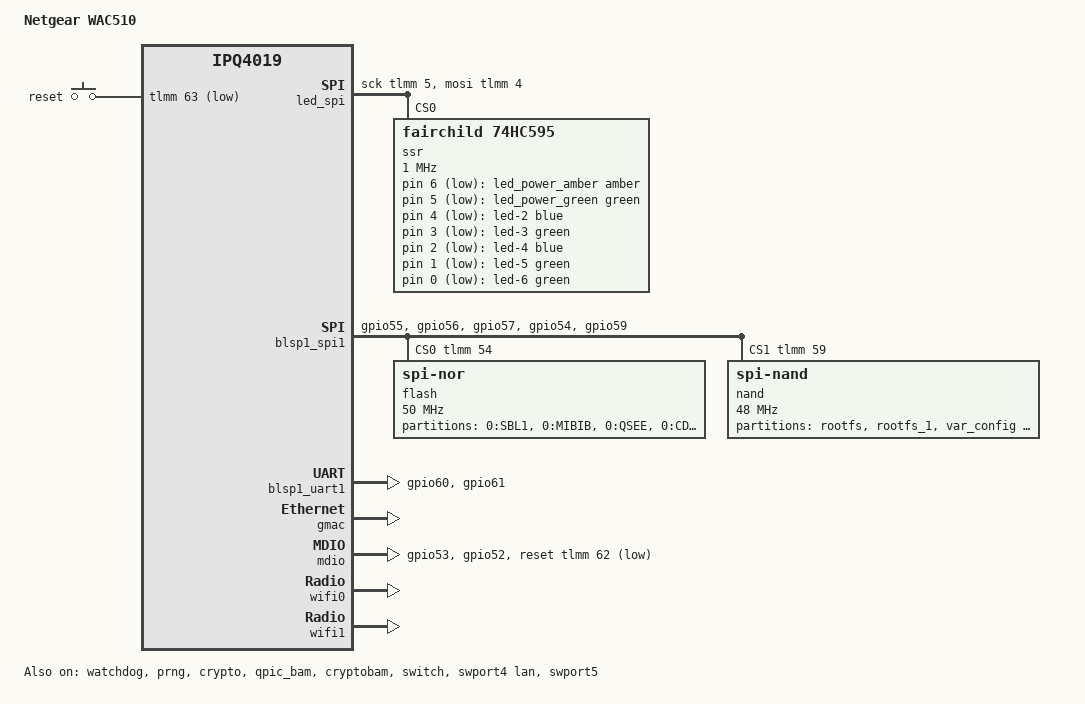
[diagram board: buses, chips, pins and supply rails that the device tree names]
// SPDX-License-Identifier: GPL-2.0-or-later OR MIT
/* Copyright (c) 2020, Robert Marko <robimarko@gmail.com> */

#include "qcom-ipq4019.dtsi"
#include <dt-bindings/gpio/gpio.h>
#include <dt-bindings/input/input.h>
#include <dt-bindings/soc/qcom,tcsr.h>
#include <dt-bindings/leds/common.h>

/ {
	model = "Netgear WAC510";
	compatible = "netgear,wac510";

	aliases {
		led-boot = &led_power_amber;
		led-failsafe = &led_power_amber;
		led-running = &led_power_green;
		led-upgrade = &led_power_amber;
		ethernet1 = &swport5;
	};

	chosen {
		bootargs-append = " root=/dev/ubiblock0_1";
	};

	soc {
		counter@4a1000 {
			compatible = "qcom,qca-gcnt";
			reg = <0x4a1000 0x4>;
		};

		tcsr@1949000 {
			compatible = "qcom,tcsr";
			reg = <0x1949000 0x100>;
			qcom,wifi_glb_cfg = <TCSR_WIFI_GLB_CFG>;
		};

		ess_tcsr@1953000 {
			compatible = "qcom,tcsr";
			reg = <0x1953000 0x1000>;
			qcom,ess-interface-select = <TCSR_ESS_PSGMII>;
		};

		tcsr@1957000 {
			compatible = "qcom,tcsr";
			reg = <0x1957000 0x100>;
			qcom,wifi_noc_memtype_m0_m2 = <TCSR_WIFI_NOC_MEMTYPE_M0_M2>;
		};
	};

	keys {
		compatible = "gpio-keys";

		reset {
			label = "reset";
			gpios = <&tlmm 63 GPIO_ACTIVE_LOW>;
			linux,code = <KEY_RESTART>;
		};
	};

	led_spi {
		compatible = "spi-gpio";
		#address-cells = <1>;
		#size-cells = <0>;

		sck-gpios = <&tlmm 5 GPIO_ACTIVE_HIGH>;
		mosi-gpios = <&tlmm 4 GPIO_ACTIVE_HIGH>;
		num-chipselects = <0>;

		ssr: ssr@0 {
			compatible = "fairchild,74hc595";
			reg = <0>;
			gpio-controller;
			#gpio-cells = <2>;
			registers-number = <1>;
			spi-max-frequency = <1000000>;
		};
	};

	leds {
		compatible = "gpio-leds";

		led_power_amber: led-0 {
			color = <LED_COLOR_ID_AMBER>;
			function = LED_FUNCTION_POWER;
			gpios = <&ssr 6 GPIO_ACTIVE_LOW>;
			panic-indicator;
		};

		led_power_green: led-1 {
			color = <LED_COLOR_ID_GREEN>;
			function = LED_FUNCTION_POWER;
			gpios = <&ssr 5 GPIO_ACTIVE_LOW>;
		};

		led-2 {
			/* 2.4GHz blue - activity */
			color = <LED_COLOR_ID_BLUE>;
			function = LED_FUNCTION_WLAN;
			function-enumerator = <0>;
			gpios = <&ssr 4 GPIO_ACTIVE_LOW>;
			linux,default-trigger = "phy0tpt";
		};

		led-3 {
			/* 2.4GHz green - link */
			color = <LED_COLOR_ID_GREEN>;
			function = LED_FUNCTION_WLAN;
			function-enumerator = <0>;
			gpios = <&ssr 3 GPIO_ACTIVE_LOW>;
			linux,default-trigger = "phy0radio";
		};

		led-4 {
			/* 5GHz blue - activity */
			color = <LED_COLOR_ID_BLUE>;
			function = LED_FUNCTION_WLAN;
			function-enumerator = <1>;
			gpios = <&ssr 2 GPIO_ACTIVE_LOW>;
			linux,default-trigger = "phy1tpt";
		};

		led-5 {
			/* 5GHz green - link */
			color = <LED_COLOR_ID_GREEN>;
			function = LED_FUNCTION_WLAN;
			function-enumerator = <1>;
			gpios = <&ssr 1 GPIO_ACTIVE_LOW>;
			linux,default-trigger = "phy1radio";
		};

		led-6 {
			color = <LED_COLOR_ID_GREEN>;
			function = LED_FUNCTION_ACTIVITY;
			gpios = <&ssr 0 GPIO_ACTIVE_LOW>;
		};
	};
};

&watchdog {
	status = "okay";
};

&prng {
	status = "okay";
};

&crypto {
	status = "okay";
};

&qpic_bam {
	status = "okay";
};

&tlmm {
	mdio_pins: mdio_pinmux {
		mux_1 {
			pins = "gpio53";
			function = "mdio";
			bias-pull-up;
		};

		mux_2 {
			pins = "gpio52";
			function = "mdc";
			bias-pull-up;
		};
	};

	serial_pins: serial_pinmux {
		mux {
			pins = "gpio60", "gpio61";
			function = "blsp_uart0";
			bias-disable;
		};
	};

	spi_0_pins: spi_0_pinmux {
		pinmux {
			function = "blsp_spi0";
			pins = "gpio55", "gpio56", "gpio57";
			drive-strength = <12>;
			bias-disable;
		};

		pinmux_cs {
			function = "gpio";
			pins = "gpio54", "gpio59";
			drive-strength = <2>;
			bias-disable;
			output-high;
		};
	};
};

&blsp_dma {
	status = "okay";
};

&blsp1_spi1 {
	status = "okay";

	pinctrl-0 = <&spi_0_pins>;
	pinctrl-names = "default";
	cs-gpios = <&tlmm 54 GPIO_ACTIVE_HIGH>,
		   <&tlmm 59 GPIO_ACTIVE_HIGH>;

	flash@0 {
		compatible = "jedec,spi-nor";
		spi-max-frequency = <50000000>;
		reg = <0>;

		partitions {
			compatible = "fixed-partitions";
			#address-cells = <1>;
			#size-cells = <1>;

			partition@0 {
				label = "0:SBL1";
				reg = <0x00000000 0x00040000>;
				read-only;
			};

			partition@40000 {
				label = "0:MIBIB";
				reg = <0x00040000 0x00020000>;
				read-only;
			};

			partition@60000 {
				label = "0:QSEE";
				reg = <0x00060000 0x00060000>;
				read-only;
			};

			partition@c0000 {
				label = "0:CDT";
				reg = <0x000c0000 0x00010000>;
				read-only;
			};

			partition@d0000 {
				label = "0:DDRPARAMS";
				reg = <0x000d0000 0x00010000>;
				read-only;
			};

			partition@e0000 {
				label = "0:APPSBLENV";
				reg = <0x000e0000 0x00010000>;
			};

			partition@f0000 {
				label = "0:APPSBL";
				reg = <0x000f0000 0x000f0000>;
				read-only;
			};

			partition@1e0000 {
				label = "0:MANUDATA";
				reg = <0x001e0000 0x00010000>;
				read-only;

				nvmem-layout {
					compatible = "fixed-layout";
					#address-cells = <1>;
					#size-cells = <1>;

					macaddr_manudata_6: macaddr@6 {
						compatible = "mac-base";
						reg = <0x6 0x6>;
						#nvmem-cell-cells = <1>;
					};
				};
			};

			partition@1f0000 {
				label = "0:ART";
				reg = <0x001f0000 0x00010000>;
				read-only;

				nvmem-layout {
					compatible = "fixed-layout";
					#address-cells = <1>;
					#size-cells = <1>;

					precal_art_1000: precal@1000 {
						reg = <0x1000 0x2f20>;
					};

					precal_art_5000: precal@5000 {
						reg = <0x5000 0x2f20>;
					};
				};
			};
		};
	};

	nand@1 {
		compatible = "spi-nand";
		reg = <1>;
		spi-max-frequency = <48000000>;

		partitions {
			compatible = "fixed-partitions";
			#address-cells = <1>;
			#size-cells = <1>;

			partition@0 {
				label = "rootfs";
				reg = <0x00000000 0x03800000>;
			};

			partition@3800000 {
				label = "rootfs_1";
				reg = <0x03800000 0x03800000>;
			};

			partition@7000000 {
				label = "var_config";
				reg = <0x07000000 0x00f00000>;
				read-only;
			};

			partition@7f00000 {
				label = "Oops_log";
				reg = <0x07f00000 0x000c0000>;
				read-only;
			};
		};
	};
};

&blsp1_uart1 {
	status = "okay";

	pinctrl-0 = <&serial_pins>;
	pinctrl-names = "default";
};

&cryptobam {
	status = "okay";
};

&gmac {
	status = "okay";
};

&switch {
	status = "okay";
};

&swport4 {
	status = "okay";

	label = "lan";
};

&swport5 {
	status = "okay";
};

&mdio {
	status = "okay";

	pinctrl-0 = <&mdio_pins>;
	pinctrl-names = "default";
	reset-gpios = <&tlmm 62 GPIO_ACTIVE_LOW>;
	reset-delay-us = <2000>;
};

&wifi0 {
	status = "okay";
	nvmem-cell-names = "pre-calibration", "mac-address";
	nvmem-cells = <&precal_art_1000>, <&macaddr_manudata_6 0>;
	qcom,ath10k-calibration-variant = "Netgear-WAC510";
};

&wifi1 {
	status = "okay";
	nvmem-cell-names = "pre-calibration", "mac-address";
	nvmem-cells = <&precal_art_5000>, <&macaddr_manudata_6 16>;
	qcom,ath10k-calibration-variant = "Netgear-WAC510";
};
